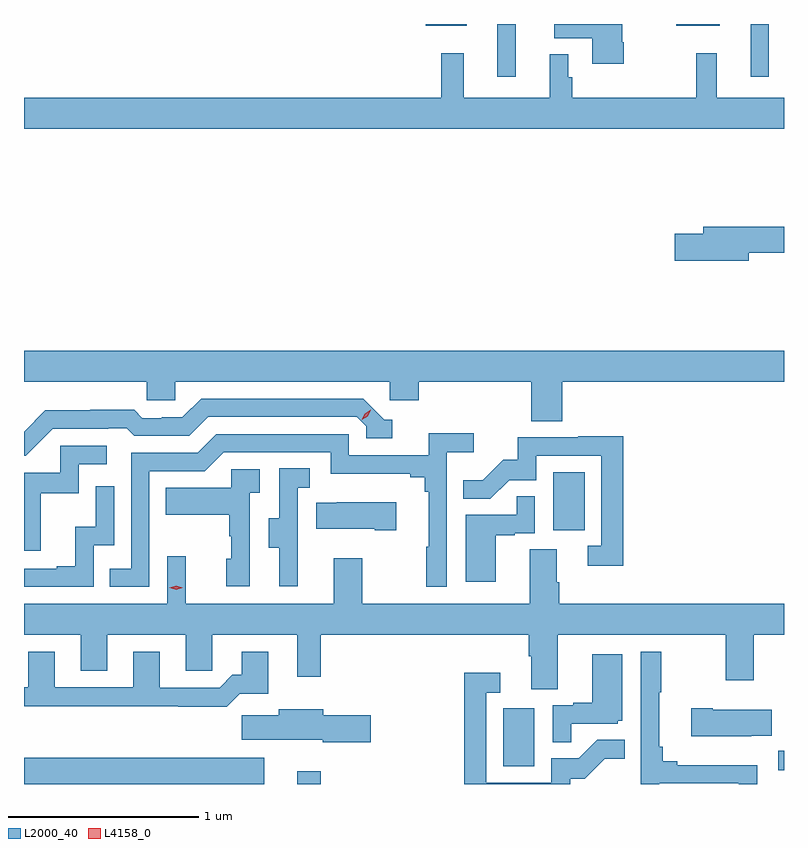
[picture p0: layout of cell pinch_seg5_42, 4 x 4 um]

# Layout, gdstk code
import gdstk
lib = gdstk.Library(unit=1e-6, precision=1e-09)
def R(c, l, rs):  # rectangles x0, y0, x1, y1
    for r in rs: c.add(gdstk.rectangle(r[:2], r[2:], *l))
def P(c, l, *ps):  # polygons
    for p in ps: c.add(gdstk.Polygon(p, *l))
L2000_40 = (2000, 40)
L4158_0 = (4158, 0)

pinch_seg5_42 = lib.new_cell('pinch_seg5_42')
R(pinch_seg5_42, L2000_40, [(1107.63,903.927,1108.894,904.066), (1109.069,903.927,1109.191,903.994), (1111.599,904,1111.63,904.103), (1110.152,904.02,1110.316,904.327), (1110.416,905.262,1110.58,905.569), (1110.122,907.65,1110.219,907.927), (1111.454,907.65,1111.551,907.927), (1109.744,907.919,1109.959,907.927), (1111.064,907.919,1111.291,907.927)])
P(pinch_seg5_42, L2000_40, [(1110.786,907.831),(1110.778,907.831),(1110.778,907.927),(1110.422,907.927),(1110.422,907.853),(1110.62,907.853),(1110.62,907.719),(1110.786,907.719)],
  [(1111.63,907.54),(1111.277,907.54),(1111.277,907.774),(1111.167,907.774),(1111.167,907.54),(1110.515,907.54),(1110.515,907.647),(1110.495,907.647),(1110.495,907.768),(1110.398,907.768),(1110.398,907.54),(1109.945,907.54),(1109.945,907.774),(1109.827,907.774),(1109.827,907.54),(1107.63,907.54),(1107.63,907.376),(1111.63,907.376)],
  [(1111.444,906.724),(1111.63,906.724),(1111.63,906.86),(1111.205,906.86),(1111.205,906.824),(1111.056,906.824),(1111.056,906.682),(1111.444,906.682)],
  [(1110.464,906.044),(1111.63,906.044),(1111.63,906.208),(1107.63,906.208),(1107.63,906.044),(1108.275,906.044),(1108.275,905.946),(1108.425,905.946),(1108.425,906.044),(1109.556,906.044),(1109.556,905.946),(1109.708,905.946),(1109.708,906.044),(1110.299,906.044),(1110.299,905.836),(1110.464,905.836)],
  [(1107.78,905.796),(1108.073,905.796),(1108.073,905.799),(1108.172,905.799),(1108.211,905.76),(1108.5,905.76),(1108.599,905.859),(1109.382,905.859),(1109.43,905.811),(1109.43,905.748),(1109.569,905.748),(1109.569,905.844),(1109.526,905.844),(1109.415,905.955),(1108.562,905.955),(1108.463,905.856),(1108.356,905.856),(1108.356,905.853),(1108.253,905.853),(1108.211,905.896),(1107.978,905.896),(1107.978,905.893),(1107.742,905.893),(1107.63,905.781),(1107.63,905.655),(1107.639,905.655)],
  [(1108.29,905.574),(1108.581,905.574),(1108.68,905.673),(1109.244,905.673),(1109.244,905.561),(1109.663,905.561),(1109.663,905.542),(1109.74,905.542),(1109.74,905.465),(1109.759,905.465),(1109.759,905.177),(1109.748,905.177),(1109.748,904.965),(1109.856,904.965),(1109.856,905.672),(1109.998,905.672),(1109.998,905.774),(1109.759,905.774),(1109.759,905.658),(1109.34,905.658),(1109.34,905.769),(1108.643,905.769),(1108.544,905.67),(1108.194,905.67),(1108.194,905.061),(1108.081,905.061),(1108.081,904.965),(1108.29,904.965)],
  [(1110.785,905.756),(1110.547,905.756),(1110.547,905.751),(1110.229,905.751),(1110.229,905.634),(1110.152,905.634),(1110.045,905.527),(1109.941,905.527),(1109.941,905.428),(1110.085,905.428),(1110.183,905.526),(1110.327,905.526),(1110.327,905.655),(1110.669,905.655),(1110.669,905.181),(1110.597,905.181),(1110.597,905.076),(1110.785,905.076)],
  [(1107.719,905.457),(1107.918,905.457),(1107.918,905.61),(1108.066,905.61),(1108.066,905.706),(1107.822,905.706),(1107.822,905.565),(1107.63,905.565),(1107.63,905.154),(1107.719,905.154)],
  [(1109.072,905.181),(1109.07,905.181),(1109.07,905.485),(1109.134,905.485),(1109.134,905.588),(1108.974,905.588),(1108.974,905.325),(1108.919,905.325),(1108.919,905.17),(1108.973,905.17),(1108.973,904.968),(1109.072,904.968)],
  [(1108.818,905.459),(1108.87,905.459),(1108.87,905.583),(1108.722,905.583),(1108.722,905.485),(1108.375,905.485),(1108.375,905.345),(1108.71,905.345),(1108.71,905.231),(1108.72,905.231),(1108.72,905.112),(1108.694,905.112),(1108.694,904.968),(1108.818,904.968)],
  [(1107.996,905.184),(1108.104,905.184),(1108.104,905.494),(1108.008,905.494),(1108.008,905.282),(1107.899,905.282),(1107.899,905.074),(1107.803,905.074),(1107.803,905.061),(1107.63,905.061),(1107.63,904.965),(1107.996,904.965)],
  [(1110.112,905.235),(1110.212,905.235),(1110.212,905.247),(1110.318,905.247),(1110.318,905.441),(1110.223,905.441),(1110.223,905.343),(1109.954,905.343),(1109.954,904.992),(1110.112,904.992)],
  [(1109.59,905.41),(1109.275,905.41),(1109.275,905.407),(1109.167,905.407),(1109.167,905.27),(1109.477,905.27),(1109.477,905.263),(1109.59,905.263)],
  [(1110.439,904.712),(1111.324,904.712),(1111.324,904.473),(1111.471,904.473),(1111.471,904.712),(1111.63,904.712),(1111.63,904.876),(1110.446,904.876),(1110.446,904.988),(1110.433,904.988),(1110.433,905.162),(1110.293,905.162),(1110.293,904.876),(1109.409,904.876),(1109.409,905.116),(1109.261,905.116),(1109.261,904.876),(1108.481,904.876),(1108.481,905.125),(1108.383,905.125),(1108.383,904.876),(1107.63,904.876),(1107.63,904.712),(1107.929,904.712),(1107.929,904.522),(1108.069,904.522),(1108.069,904.712),(1108.481,904.712),(1108.481,904.522),(1108.62,904.522),(1108.62,904.712),(1109.069,904.712),(1109.069,904.491),(1109.191,904.491),(1109.191,904.712),(1110.287,904.712),(1110.287,904.6),(1110.299,904.6),(1110.299,904.426),(1110.439,904.426)],
  [(1108.766,904.403),(1108.915,904.403),(1108.915,904.624),(1108.775,904.624),(1108.775,904.501),(1108.726,904.501),(1108.659,904.434),(1108.345,904.434),(1108.345,904.624),(1108.205,904.624),(1108.205,904.437),(1107.793,904.437),(1107.793,904.624),(1107.653,904.624),(1107.653,904.437),(1107.63,904.437),(1107.63,904.336),(1108.441,904.336),(1108.441,904.334),(1108.697,904.334)],
  [(1110.974,903.93),(1111.392,903.93),(1111.392,903.927),(1111.488,903.927),(1111.488,904.027),(1111.069,904.027),(1111.069,904.046),(1110.992,904.046),(1110.992,904.123),(1110.973,904.123),(1110.973,904.411),(1110.985,904.411),(1110.985,904.624),(1110.876,904.624),(1110.876,903.927),(1110.974,903.927)],
  [(1110.509,904.245),(1110.756,904.245),(1110.756,904.26),(1110.778,904.26),(1110.778,904.609),(1110.62,904.609),(1110.62,904.354),(1110.521,904.354),(1110.521,904.341),(1110.414,904.341),(1110.414,904.147),(1110.509,904.147)],
  [(1110.504,903.954),(1110.58,903.954),(1110.687,904.061),(1110.791,904.061),(1110.791,904.16),(1110.647,904.16),(1110.549,904.062),(1110.405,904.062),(1110.405,903.933),(1110.063,903.933),(1110.063,904.407),(1110.136,904.407),(1110.136,904.513),(1109.947,904.513),(1109.947,903.927),(1110.504,903.927)],
  [(1111.457,904.181),(1111.565,904.181),(1111.565,904.318),(1111.255,904.318),(1111.255,904.326),(1111.143,904.326),(1111.143,904.178),(1111.457,904.178)],
  [(1109.455,904.29),(1109.206,904.29),(1109.206,904.321),(1108.97,904.321),(1108.97,904.289),(1108.776,904.289),(1108.776,904.16),(1109.202,904.16),(1109.202,904.148),(1109.455,904.148)])
P(pinch_seg5_42, L4158_0, [(1108.43,904.95),(1108.394,904.959),(1108.394,904.96),(1108.394,904.96),(1108.43,904.97),(1108.466,904.961),(1108.466,904.961),(1108.466,904.961)],
  [(1109.407,905.844),(1109.407,905.844),(1109.424,905.876),(1109.454,905.896),(1109.455,905.896),(1109.455,905.896),(1109.438,905.863),(1109.407,905.844)])

lib.write_gds('pinch_seg5_42.gds')
